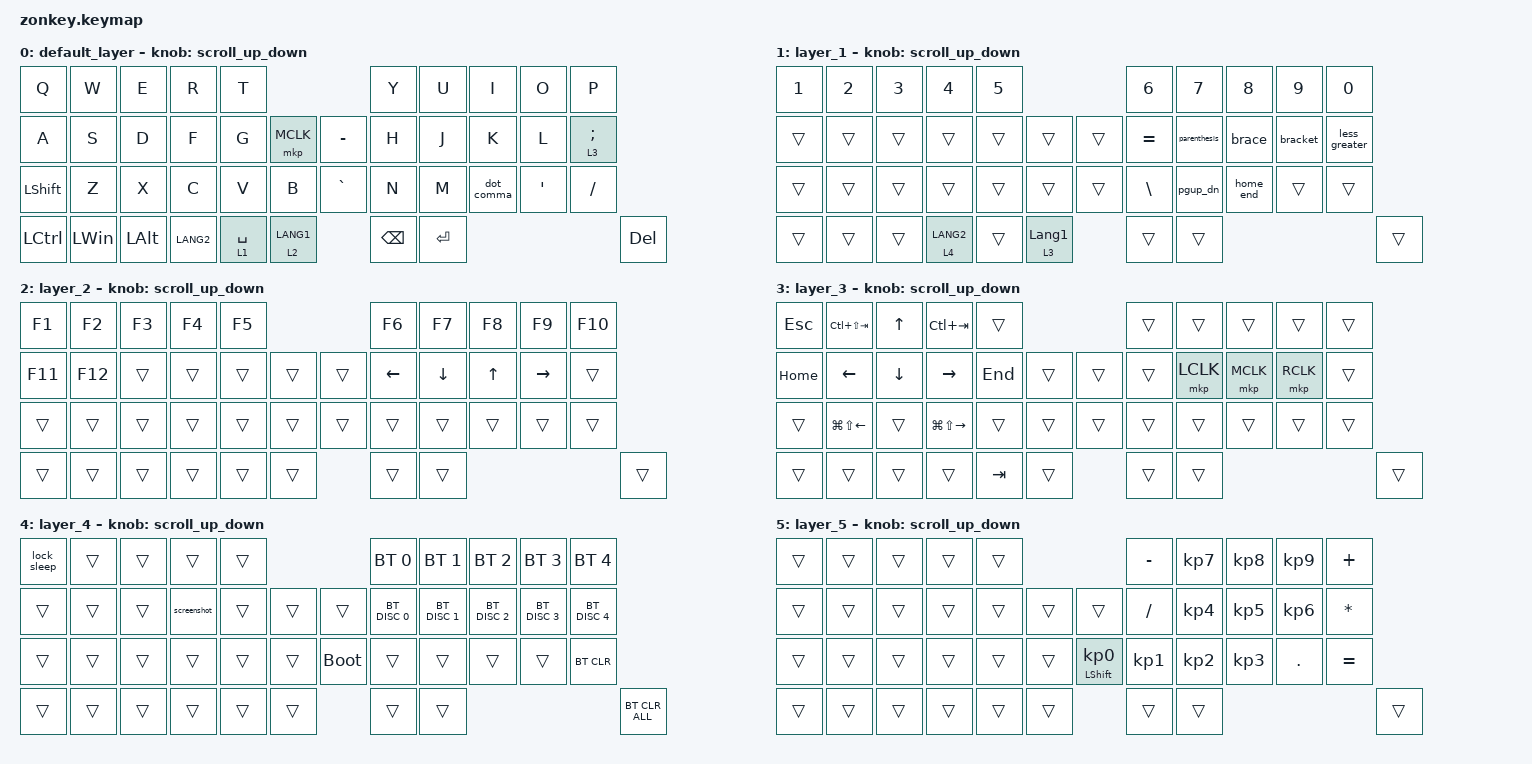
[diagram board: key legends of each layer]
#include <physical_layouts.dtsi>
#include <behaviors.dtsi>
#include <dt-bindings/zmk/bt.h>
#include <dt-bindings/zmk/keys.h>
#include <dt-bindings/zmk/pointing.h>

#define ZMK_POINTING_DEFAULT_SCRL_VAL 100
#define DFb 0
#define JIS 1
#define BT 4
#define MOUSE 6
#define JP_DQUOTE       AT                // "
#define JP_AMPERSAND    CARET             // &
#define JP_QUOTE        AMPERSAND         // '
#define JP_EQUAL        UNDER             // =
#define JP_CARET        EQUAL             // ^
#define JP_YEN          0x89              // ¥
#define JP_PLUS         COLON             // +
#define JP_TILDE        PLUS              // ~
#define JP_PIPE         LS(0x89)          // |
#define JP_AT           LEFT_BRACKET      // @
#define JP_COLON        SINGLE_QUOTE      // :
#define JP_ASTERISK     DOUBLE_QUOTES     // *
#define JP_BACKQUOTE    LEFT_BRACE        // `
#define JP_UNDERSCORE   LS(0x87)          // _
#define JP_LBRACKET     RIGHT_BRACKET     // [
#define JP_RBRACKET     BACKSLASH         // ]
#define JP_LPAREN       ASTERISK          // (
#define JP_RPAREN       LEFT_PARENTHESIS  // )
#define JP_LBRACE       RIGHT_BRACE       // {
#define JP_RBRACE       PIPE              // }
#define JP_KANA         LANGUAGE_1        // かな
#define JP_EISU         LANGUAGE_2        // 英数
#define JP_HANZEN       GRAVE             // 半角/全角
#define JP_BSLH  INT1         // (backslash)

&mt {
    flavor = "balanced";
    quick-tap-ms = <0>;
};

/ {
    combos { compatible = "zmk,combos"; };

    macros {
        to_layer_0: to_layer_0 {
            compatible = "zmk,behavior-macro-one-param";
            #binding-cells = <1>;
            bindings = <&to 0 &macro_param_1to1 &kp MACRO_PLACEHOLDER>;
            label = "TO_LAYER_0";
        };
    };

    behaviors {
        lt_to_layer_0: lt_to_layer_0 {
            compatible = "zmk,behavior-hold-tap";
            label = "LAYER_TAP_TO_0";
            bindings = <&mo>, <&to_layer_0>;

            #binding-cells = <2>;
            tapping-term-ms = <200>;
        };

        scroll_up_down: behavior_sensor_rotate_mouse_wheel_up_down {
            compatible = "zmk,behavior-sensor-rotate";
            #sensor-binding-cells = <0>;
            bindings = <&msc SCRL_UP>, <&msc SCRL_DOWN>;

            tap-ms = <20>;
        };

        dot_comma: dot_comma {
            compatible = "zmk,behavior-mod-morph";
            label = "DOT_COMMA";
            bindings = <&kp DOT>, <&kp COMMA>;

            #binding-cells = <0>;
            mods = <(MOD_LSFT|MOD_RSFT)>;
        };

        parenthesis: parenthesis {
            compatible = "zmk,behavior-mod-morph";
            label = "PARENTHESIS";
            bindings = <&kp LEFT_PARENTHESIS>, <&kp RIGHT_PARENTHESIS>;

            #binding-cells = <0>;
            mods = <(MOD_LSFT|MOD_RSFT)>;
        };

        brace: brace {
            compatible = "zmk,behavior-mod-morph";
            label = "BRACE";
            bindings = <&kp LEFT_BRACE>, <&kp RIGHT_BRACE>;

            #binding-cells = <0>;
            mods = <(MOD_LSFT|MOD_RSFT)>;
        };

        bracket: bracket {
            compatible = "zmk,behavior-mod-morph";
            label = "BRACKET";
            bindings = <&kp LEFT_BRACKET>, <&kp RIGHT_BRACKET>;

            #binding-cells = <0>;
            mods = <(MOD_LSFT|MOD_RSFT)>;
        };

        less_greater: less_greater {
            compatible = "zmk,behavior-mod-morph";
            label = "LESS_GREATER";
            bindings = <&kp LESS_THAN>, <&kp GREATER_THAN>;

            #binding-cells = <0>;
            mods = <(MOD_LSFT|MOD_RSFT)>;
        };

        pgup_dn: pgup_dn {
            compatible = "zmk,behavior-mod-morph";
            label = "PGUP_DN";
            bindings = <&kp PG_UP>, <&kp PG_DN>;

            #binding-cells = <0>;
            mods = <(MOD_LSFT|MOD_RSFT)>;
        };

        home_end: home_end {
            compatible = "zmk,behavior-mod-morph";
            label = "HOME_END";
            bindings = <&kp HOME>, <&kp END>;

            #binding-cells = <0>;
            mods = <(MOD_LSFT|MOD_RSFT)>;
        };

        lock_sleep: lock_sleep {
            compatible = "zmk,behavior-mod-morph";
            label = "LOCK_SLEEP";
            bindings = <&kp LG(LC(Q))>, <&kp LA(LC(INS))>;

            #binding-cells = <0>;
            mods = <(MOD_LSFT|MOD_RSFT)>;
        };

        screenshot: screenshot {
            compatible = "zmk,behavior-mod-morph";
            label = "SCREENSHOT";
            bindings = <&kp LS(LG(NUMBER_4))>, <&kp LS(LG(LC(NUMBER_4)))>;

            #binding-cells = <0>;
            mods = <(MOD_LSFT|MOD_RSFT)>;
        };
    };

    keymap {
        compatible = "zmk,keymap";

        default_layer {
            bindings = <
&kp Q           &kp W         &kp E         &kp R      &kp T                                  &kp Y          &kp U      &kp I       &kp O    &kp P
&kp A           &kp S         &kp D         &kp F      &kp G        &mkp MCLK      &kp MINUS  &kp H          &kp J      &kp K       &kp L    &lt 3 SEMICOLON
&kp LEFT_SHIFT  &kp Z         &kp X         &kp C      &kp V        &kp B          &kp GRAVE  &kp N          &kp M      &dot_comma  &kp SQT  &kp SLASH
&kp LCTRL       &kp LEFT_WIN  &kp LEFT_ALT  &kp LANG2  &lt 1 SPACE  &lt 2 LANG1               &kp BACKSPACE  &kp ENTER                                        &kp DEL
            >;

            sensor-bindings = <&scroll_up_down>;
        };

        layer_1 {
            bindings = <
&kp N1  &kp N2  &kp N3  &kp N4       &kp N5                              &kp N6     &kp N7        &kp N8     &kp N9    &kp N0
&trans  &trans  &trans  &trans       &trans  &trans              &trans  &kp EQUAL  &parenthesis  &brace     &bracket  &less_greater
&trans  &trans  &trans  &trans       &trans  &trans              &trans  &kp BSLH   &pgup_dn      &home_end  &trans    &trans
&trans  &trans  &trans  &lt 4 LANG2  &trans  &lt 3 LANGUAGE_1            &trans     &trans                                            &trans
            >;

            sensor-bindings = <&scroll_up_down>;
        };

        layer_2 {
            bindings = <
&kp F1   &kp F2   &kp F3  &kp F4  &kp F5                    &kp F6    &kp F7    &kp F8  &kp F9     &kp F10
&kp F11  &kp F12  &trans  &trans  &trans  &trans    &trans  &kp LEFT  &kp DOWN  &kp UP  &kp RIGHT  &trans
&trans   &trans   &trans  &trans  &trans  &trans    &trans  &trans    &trans    &trans  &trans     &trans
&trans   &trans   &trans  &trans  &trans  &trans            &trans    &trans                                &trans
            >;

            sensor-bindings = <&scroll_up_down>;
        };

        layer_3 {
            bindings = <
&kp ESCAPE  &kp LC(LS(TAB))         &kp UP          &kp LC(TAB)              &trans                     &trans  &trans     &trans     &trans     &trans
&kp HOME    &kp LEFT                &kp DOWN_ARROW  &kp RIGHT_ARROW          &kp END  &trans    &trans  &trans  &mkp LCLK  &mkp MCLK  &mkp RCLK  &trans
&trans      &kp LG(LS(LEFT_ARROW))  &trans          &kp LG(LS(RIGHT_ARROW))  &trans   &trans    &trans  &trans  &trans     &trans     &trans     &trans
&trans      &trans                  &trans          &trans                   &kp TAB  &trans            &trans  &trans                                   &trans
            >;

            sensor-bindings = <&scroll_up_down>;
        };

        layer_4 {
            bindings = <
&lock_sleep  &trans  &trans  &trans       &trans                         &bt BT_SEL 0   &bt BT_SEL 1   &bt BT_SEL 2   &bt BT_SEL 3   &bt BT_SEL 4
&trans       &trans  &trans  &screenshot  &trans  &trans    &trans       &bt BT_DISC 0  &bt BT_DISC 1  &bt BT_DISC 2  &bt BT_DISC 3  &bt BT_DISC 4
&trans       &trans  &trans  &trans       &trans  &trans    &bootloader  &trans         &trans         &trans         &trans         &bt BT_CLR
&trans       &trans  &trans  &trans       &trans  &trans                 &trans         &trans                                                      &bt BT_CLR_ALL
            >;

            sensor-bindings = <&scroll_up_down>;
        };

        layer_5 {
            bindings = <
&trans  &trans  &trans  &trans  &trans                                        &kp MINUS        &kp KP_NUMBER_7  &kp KP_NUMBER_8  &kp KP_NUMBER_9  &kp PLUS
&trans  &trans  &trans  &trans  &trans  &trans    &trans                      &kp SLASH        &kp KP_NUMBER_4  &kp KP_NUMBER_5  &kp KP_NUMBER_6  &kp ASTERISK
&trans  &trans  &trans  &trans  &trans  &trans    &mt LEFT_SHIFT KP_NUMBER_0  &kp KP_NUMBER_1  &kp KP_NUMBER_2  &kp KP_NUMBER_3  &kp PERIOD       &kp EQUAL
&trans  &trans  &trans  &trans  &trans  &trans                                &trans           &trans                                                           &trans
            >;

            sensor-bindings = <&scroll_up_down>;
        };
    };
};
